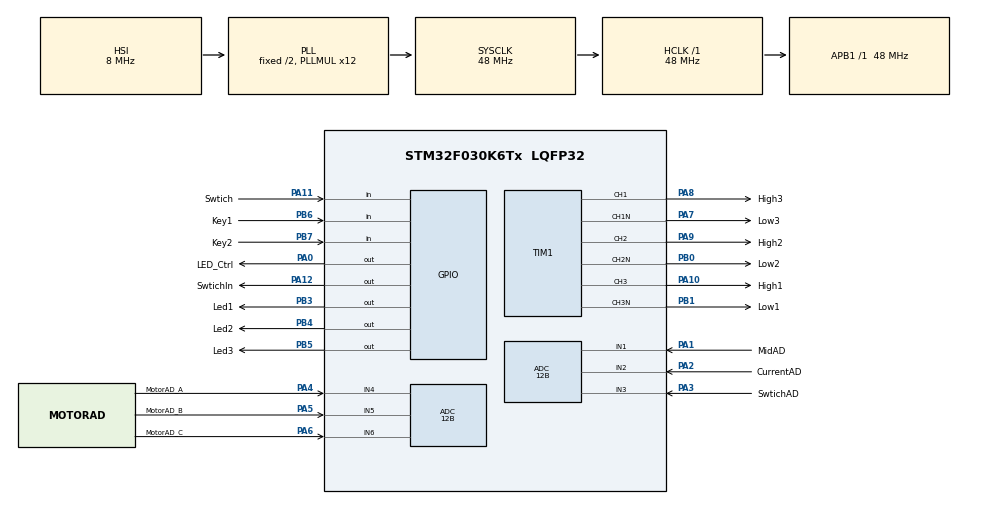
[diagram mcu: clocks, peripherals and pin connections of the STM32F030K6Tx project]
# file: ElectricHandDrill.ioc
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ADC.ClockPrescaler=ADC_CLOCK_SYNC_PCLK_DIV4
ADC.ContinuousConvMode=ENABLE
ADC.DMAContinuousRequests=ENABLE
ADC.DataAlign=ADC_DATAALIGN_RIGHT
ADC.DiscontinuousConvMode=DISABLE
ADC.EOCSelection=ADC_EOC_SEQ_CONV
ADC.EnableAnalogWatchDog=false
ADC.ExternalTrigConv=ADC_SOFTWARE_START
ADC.ExternalTrigConvEdge=ADC_EXTERNALTRIGCONVEDGE_NONE
ADC.LowPowerAutoPowerOff=DISABLE
ADC.LowPowerAutoWait=DISABLE
ADC.Overrun=ADC_OVR_DATA_PRESERVED
ADC.Resolution=ADC_RESOLUTION_12B
ADC.SamplingTime=ADC_SAMPLETIME_7CYCLES_5
ADC.ScanConvMode=ADC_SCAN_DIRECTION_FORWARD
Dma.ADC.0.Direction=DMA_PERIPH_TO_MEMORY
Dma.ADC.0.Instance=DMA1_Channel1
Dma.ADC.0.MemDataAlignment=DMA_MDATAALIGN_HALFWORD
Dma.ADC.0.MemInc=DMA_MINC_ENABLE
Dma.ADC.0.Mode=DMA_CIRCULAR
Dma.ADC.0.PeriphDataAlignment=DMA_PDATAALIGN_HALFWORD
Dma.ADC.0.PeriphInc=DMA_PINC_DISABLE
Dma.ADC.0.Priority=DMA_PRIORITY_LOW
Dma.Request0=ADC
Mcu.Family=STM32F0
Mcu.Name=STM32F030K6Tx
Mcu.Package=LQFP32
Mcu.UserConstants=BLDC_PWM_Freq,25000
NVIC.DMA1_Channel1_IRQn=true\:0\:0\:false\:false\:true\:false
NVIC.TIM1_BRK_UP_TRG_COM_IRQn=true\:0\:0\:false\:false\:true\:true
NVIC.TIM1_CC_IRQn=true\:0\:0\:false\:false\:true\:true
PA0.GPIO_Label=LED_Ctrl
PA0.Signal=GPIO_Output
PA1.GPIO_Label=MidAD
PA1.Mode=IN1
PA1.Signal=ADC_IN1
PA10.GPIO_Label=High1
PA10.Signal=S_TIM1_CH3
PA11.GPIO_Label=Swtich
PA11.Signal=GPIO_Input
PA12.GPIO_Label=SwtichIn
PA12.Signal=GPIO_Output
PA13.Mode=Serial_Wire
PA13.Signal=SYS_SWDIO
PA14.Mode=Serial_Wire
PA14.Signal=SYS_SWCLK
PA2.GPIO_Label=CurrentAD
PA2.Mode=IN2
PA2.Signal=ADC_IN2
PA3.GPIO_Label=SwtichAD
PA3.Mode=IN3
PA3.Signal=ADC_IN3
PA4.GPIO_Label=MotorAD_A
PA4.Mode=IN4
PA4.Signal=ADC_IN4
PA5.GPIO_Label=MotorAD_B
PA5.Mode=IN5
PA5.Signal=ADC_IN5
PA6.GPIO_Label=MotorAD_C
PA6.Mode=IN6
PA6.Signal=ADC_IN6
PA7.GPIO_Label=Low3
PA7.Mode=PWM Generation1 CH1 CH1N
PA7.Signal=TIM1_CH1N
PA8.GPIO_Label=High3
PA8.Signal=S_TIM1_CH1
PA9.GPIO_Label=High2
PA9.Signal=S_TIM1_CH2
PB0.GPIO_Label=Low2
PB0.Mode=PWM Generation2 CH2 CH2N
PB0.Signal=TIM1_CH2N
PB1.GPIO_Label=Low1
PB1.Mode=PWM Generation3 CH3 CH3N
PB1.Signal=TIM1_CH3N
PB3.GPIO_Label=Led1
PB3.Signal=GPIO_Output
PB4.GPIO_Label=Led2
PB4.Signal=GPIO_Output
PB5.GPIO_Label=Led3
PB5.Signal=GPIO_Output
PB6.GPIO_Label=Key1
PB6.Signal=GPIO_Input
PB7.GPIO_Label=Key2
PB7.Signal=GPIO_Input
ProjectManager.HeapSize=0x200
ProjectManager.StackSize=0x400
ProjectManager.TargetToolchain=SW4STM32
RCC.AHBFreq_Value=48000000
RCC.APB1Freq_Value=48000000
RCC.APB1TimFreq_Value=48000000
RCC.HCLKFreq_Value=48000000
RCC.PLLMUL=RCC_PLL_MUL12
RCC.SYSCLKFreq_VALUE=48000000
RCC.SYSCLKSource=RCC_SYSCLKSOURCE_PLLCLK
SH.S_TIM1_CH1.0=TIM1_CH1,PWM Generation1 CH1 CH1N
SH.S_TIM1_CH2.0=TIM1_CH2,PWM Generation2 CH2 CH2N
SH.S_TIM1_CH3.0=TIM1_CH3,PWM Generation3 CH3 CH3N
TIM1.AutoReloadPreload=TIM_AUTORELOAD_PRELOAD_ENABLE
TIM1.AutomaticOutput=TIM_AUTOMATICOUTPUT_ENABLE
TIM1.Channel-PWM\ Generation1\ CH1\ CH1N=TIM_CHANNEL_1
TIM1.Channel-PWM\ Generation2\ CH2\ CH2N=TIM_CHANNEL_2
TIM1.Channel-PWM\ Generation3\ CH3\ CH3N=TIM_CHANNEL_3
TIM1.Channel-PWM\ Generation4\ No\ Output=TIM_CHANNEL_4
TIM1.CounterMode=TIM_COUNTERMODE_DOWN
TIM1.DeadTime=64
TIM1.OffStateIDLEMode=TIM_OSSI_ENABLE
TIM1.OffStateRunMode=TIM_OSSR_ENABLE
TIM1.Period=48000000/BLDC_PWM_Freq - 1
TIM1.Pulse-PWM\ Generation1\ CH1\ CH1N=48000000/BLDC_PWM_Freq/3 - 1
TIM1.Pulse-PWM\ Generation2\ CH2\ CH2N=48000000/BLDC_PWM_Freq/3 - 1
TIM1.Pulse-PWM\ Generation3\ CH3\ CH3N=48000000/BLDC_PWM_Freq/3 - 1
TIM1.Pulse-PWM\ Generation4\ No\ Output=48000000/BLDC_PWM_Freq - 100
VP_TIM1_VS_ClockSourceINT.Mode=Internal
VP_TIM1_VS_no_output4.Mode=PWM Generation4 No Output
board=ElectricHandDrill

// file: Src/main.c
/**
  ******************************************************************************
  * File Name          : main.c
  * Description        : Main program body
  ******************************************************************************
  ** This notice applies to any and all portions of this file
  * that are not between comment pairs USER CODE BEGIN and
  * USER CODE END. Other portions of this file, whether
  * inserted by the user or by software development tools
  * are owned by their respective copyright owners.
  *
  * COPYRIGHT(c) 2018 STMicroelectronics
  *
  * Redistribution and use in source and binary forms, with or without modification,
  * are permitted provided that the following conditions are met:
  *   1. Redistributions of source code must retain the above copyright notice,
  *      this list of conditions and the following disclaimer.
  *   2. Redistributions in binary form must reproduce the above copyright notice,
  *      this list of conditions and the following disclaimer in the documentation
  *      and/or other materials provided with the distribution.
  *   3. Neither the name of STMicroelectronics nor the names of its contributors
  *      may be used to endorse or promote products derived from this software
  *      without specific prior written permission.
  *
  * THIS SOFTWARE IS PROVIDED BY THE COPYRIGHT HOLDERS AND CONTRIBUTORS "AS IS"
  * AND ANY EXPRESS OR IMPLIED WARRANTIES, INCLUDING, BUT NOT LIMITED TO, THE
  * IMPLIED WARRANTIES OF MERCHANTABILITY AND FITNESS FOR A PARTICULAR PURPOSE ARE
  * DISCLAIMED. IN NO EVENT SHALL THE COPYRIGHT HOLDER OR CONTRIBUTORS BE LIABLE
  * FOR ANY DIRECT, INDIRECT, INCIDENTAL, SPECIAL, EXEMPLARY, OR CONSEQUENTIAL
  * DAMAGES (INCLUDING, BUT NOT LIMITED TO, PROCUREMENT OF SUBSTITUTE GOODS OR
  * SERVICES; LOSS OF USE, DATA, OR PROFITS; OR BUSINESS INTERRUPTION) HOWEVER
  * CAUSED AND ON ANY THEORY OF LIABILITY, WHETHER IN CONTRACT, STRICT LIABILITY,
  * OR TORT (INCLUDING NEGLIGENCE OR OTHERWISE) ARISING IN ANY WAY OUT OF THE USE
  * OF THIS SOFTWARE, EVEN IF ADVISED OF THE POSSIBILITY OF SUCH DAMAGE.
  *
  ******************************************************************************
  */

#include "main.h"
#include "stm32f0xx_hal.h"

/* USER CODE BEGIN Includes */
//#include "stdio.h"
//#include  <math.h>

#include "user_conf.h"
//#include "Low_level.h"
#include "BLDC_TIM.h"
#include "BLDC_Motor.h"

/* USER CODE END Includes */

ADC_HandleTypeDef hadc;
DMA_HandleTypeDef hdma_adc;

TIM_HandleTypeDef htim1;

/* USER CODE BEGIN PV */
/* Private variables ---------------------------------------------------------*/

#define N     6
uint16_t ADCConvertedValue_2[N];
uint32_t ADC_Value1[30];

//uint8_t i;
//		AD1		AD2			AD3		AD4		AD5			AD6
uint32_t MidAD,CurrentAD,SwtichAD,MotorAD_A,MotorAD_B,MotorAD_C;

unsigned long BEMF_Cnt;
unsigned long BEMF_ADC_Cnt;

//unsigned short ADC_Value[6000][3];

/* USER CODE END PV */

void SystemClock_Config(void);
static void MX_GPIO_Init(void);
static void MX_DMA_Init(void);
static void MX_ADC_Init(void);
static void MX_TIM1_Init(void);

void HAL_TIM_MspPostInit(TIM_HandleTypeDef *htim);

/* USER CODE BEGIN PFP */
/* Private function prototypes -----------------------------------------------*/
unsigned long BEMF(void);//Back Electromotive Force 反电动
void MyInitTIM1PWM(void);

//void BLDC_Init(void)
//{
//    MotorA.PWMTicks = 0;
//
//    MotorA.Step = 0;
//    MotorA.State = 0;
//
//    MotorA.FlagSwitchStep = 0;
//    MotorA.FlagBEMF = 0;
//}
/* USER CODE END PFP */

int main(void)
{

  /* USER CODE BEGIN 1 */
	uint8_t i;
	uint32_t tmpUint32[6];
  /* USER CODE END 1 */

  /* MCU Configuration----------------------------------------------------------*/

  /* Reset of all peripherals, Initializes the Flash interface and the Systick. */
  HAL_Init();

  /* Configure the system clock */
  SystemClock_Config();

  /* Initialize all configured peripherals */
  MX_GPIO_Init();
  MX_DMA_Init();
  MX_ADC_Init();
  MX_TIM1_Init();

  /* USER CODE BEGIN 2 */
  BLDC_Pulse = __HAL_TIM_GET_COMPARE(&htim1,TIM_CHANNEL_1);
  MyInitTIM1PWM();
  BLDC_Init();

  BEMF_Cnt = 0;
  BEMF_ADC_Cnt = 0;

  MotorA.Step = 0;

//  BLDC_SwitchStep();//Del for test

  /*1 Start the conversion process and enable interrupt */
  HAL_ADC_Start_DMA(&hadc, (uint32_t*)&ADC_Value1, 30);

  /* USER CODE END 2 */

  /* Infinite loop */
  /* USER CODE BEGIN WHILE */
  //Only For test

//  HAL_TIM_OC_Stop(&BLDC_TIMER_NUM,TIM_CHANNEL_1);//0 上桥关
//  __HAL_TIM_SET_OC_POLARITY(&BLDC_TIMER_NUM,TIM_CHANNEL_1,TIM_OCNPOLARITY_HIGH);//有效打开
//  HAL_TIMEx_OCN_Stop(&BLDC_TIMER_NUM,TIM_CHANNEL_1);//0 下桥关
//
//
//  /*  PhaseB configuration */
//  HAL_TIM_OC_Start(&BLDC_TIMER_NUM,TIM_CHANNEL_2);// 1 上桥开
//  HAL_TIMEx_OCN_Start(&BLDC_TIMER_NUM,TIM_CHANNEL_2);//下桥开,同步整流
//
  /*  PhaseC configuration */
  //CC3NP/CC3P没作用
//  HAL_TIM_OC_Stop(&BLDC_TIMER_NUM,TIM_CHANNEL_3);// 0 上桥关
//  __HAL_TIM_SET_OC_POLARITY(&BLDC_TIMER_NUM,TIM_CHANNEL_3,TIM_OCNPOLARITY_LOW);// 1  常开,一直打开
//  HAL_TIMEx_OCN_Stop(&BLDC_TIMER_NUM,TIM_CHANNEL_3);// 1 下桥常开,一直打开
//  HAL_TIM_OC_Start(&BLDC_TIMER_NUM,TIM_CHANNEL_3);// 0 上桥关
//  __HAL_TIM_SET_COMPARE(&BLDC_TIMER_NUM,TIM_CHANNEL_3,48000000/BLDC_PWM_Freq - 1);TIM_CCMR1_OC1M_0
//  BLDC_TIMER_NUM.Instance->CCMR1 |= TIM_CCMR1_OC1M_0;

  //CHANNEL_1
  //置位101:强制为有效电平.OC_Start OCN_Start -> OC高 OCN低
  //置位101:强制为有效电平.OC_Stop OCN_Start -> OC低 OCN高
  //置位101:强制为有效电平.OC_Start OCN_Stop -> OC高 OCN低
  //置位101:强制为有效电平.OC_Stop OCN_Stop -> OC低 OCN低

  //置位100:强制为无效电平.OC_Start OCN_Start -> OC低 OCN高
  //置位100:强制为无效电平.OC_Stop OCN_Start -> OC低 OCN低
  //置位100:强制为无效电平.OC_Start OCN_Stop -> OC低 OCN低
  //置位100:强制为无效电平.OC_Stop OCN_Stop -> OC低 OCN低
  BLDC_TIMER_NUM.Instance->CCMR1 &= ~(TIM_CCMR1_OC1M_0|TIM_CCMR1_OC1M_1|TIM_CCMR1_OC1M_2);//清零
  BLDC_TIMER_NUM.Instance->CCMR1 |= (TIM_CCMR1_OC1M_0 | TIM_CCMR1_OC1M_2);//置位101:强制为有效电平.强制OC1REF 为高。
//  BLDC_TIMER_NUM.Instance->CCMR1 |= (TIM_CCMR1_OC1M_2);//置位100:强制为无效电平.强制OC1REF 为低。
//  HAL_TIM_OC_Start(&BLDC_TIMER_NUM,TIM_CHANNEL_1);
  HAL_TIMEx_OCN_Start(&BLDC_TIMER_NUM,TIM_CHANNEL_1);// 1 下桥常开,一直打开
  HAL_TIM_OC_Stop(&BLDC_TIMER_NUM,TIM_CHANNEL_1);
//  HAL_TIMEx_OCN_Stop(&BLDC_TIMER_NUM,TIM_CHANNEL_1);// 1 下桥常开,一直打开
  HAL_TIM_OC_Start(&BLDC_TIMER_NUM,TIM_CHANNEL_2);
  HAL_TIMEx_OCN_Start(&BLDC_TIMER_NUM,TIM_CHANNEL_2);
//  HAL_TIM_OC_Stop(&BLDC_TIMER_NUM,TIM_CHANNEL_3);
//  HAL_TIMEx_OCN_Stop(&BLDC_TIMER_NUM,TIM_CHANNEL_3);
  HAL_TIM_PWM_Start(&BLDC_TIMER_NUM,TIM_CHANNEL_3);
  HAL_TIMEx_PWMN_Start(&BLDC_TIMER_NUM,TIM_CHANNEL_3);

  MotorA.State = 0;
//  HAL_TIM_PWM_Start(&BLDC_TIMER_NUM,TIM_CHANNEL_2);
//  HAL_TIMEx_PWMN_Start(&BLDC_TIMER_NUM,TIM_CHANNEL_2);
//  BLDC_SwitchStep();
  while (1)
  {
      //等待ADC转换，DMA传输完成
      //清除DMA传输完成标志位

	  //计算AD平均值
	  tmpUint32[0] = 0;
	  tmpUint32[1] = 0;
	  tmpUint32[2] = 0;
	  tmpUint32[3] = 0;
	  tmpUint32[4] = 0;
	  tmpUint32[5] = 0;
	  MidAD = 0;
	  CurrentAD = 0;
	  SwtichAD = 0;
	  MotorAD_A = 0;
	  MotorAD_B = 0;
	  MotorAD_C = 0;
	  for(i = 0; i < 5; i ++)
	  {
		  tmpUint32[0] += ADC_Value1[i*6+0];
		  tmpUint32[1] += ADC_Value1[i*6+1];
		  tmpUint32[2] += ADC_Value1[i*6+2];
		  tmpUint32[3] += ADC_Value1[i*6+3];
		  tmpUint32[4] += ADC_Value1[i*6+4];
		  tmpUint32[5] += ADC_Value1[i*6+5];
	  }
	  MidAD = tmpUint32[0]/5;
	  CurrentAD = tmpUint32[1]/5;
	  SwtichAD = tmpUint32[2]/5;
	  MotorAD_A = tmpUint32[3]/5;
	  MotorAD_B = tmpUint32[4]/5;
	  MotorAD_C = tmpUint32[5]/5;
	  ADCConvertedValue_2[0] = MotorAD_A;
	  ADCConvertedValue_2[1] = MotorAD_A;
	  ADCConvertedValue_2[2] = MotorAD_A;

	  //TODO
//	  MotorA.Step = 1;
//	  BLDC_SwitchStep();
//       switch(MotorA.State)
//       {
//		   case 0:                             //定位
//			   if(MotorA.PWMTicks >= 1000)
//			   {
//	//               BLDC_Ctrl_Board_LEDOn(LED4);
//
//				   //   MotorA.FlagSwitchStep = 1;   //换向
//				   BLDC_SwitchStep();
//				   MotorA.State++;
//
//	//               BLDC_Ctrl_Board_LEDOff(LED4);
//				   BEMF_Cnt = 0;
//			   }
//
//			   break;
//		   case 1:                             //启动
//
//			   if (MotorA.PWMTicks >= 8)
//			   {
//				   if ( BEMF())
//				   {
//	//                   BLDC_Ctrl_Board_LEDOn(LED1);
//					   //  MotorA.FlagSwitchStep = 1;   //换向
//					   BLDC_SwitchStep();
//					   BEMF_Cnt++;
//	//                   BLDC_Ctrl_Board_LEDOff(LED1);
//				   }
//			   }
//
//			   if (BEMF_ADC_Cnt < 6000)                   //记录启动过程bemf数据
//			   {
//	//               ADC_Value[BEMF_ADC_Cnt][0] = ADCConvertedValue_2[0];
//	//               ADC_Value[BEMF_ADC_Cnt][1] = ADCConvertedValue_2[1];
//	//               ADC_Value[BEMF_ADC_Cnt][2] = ADCConvertedValue_2[2];
//
//				   BEMF_ADC_Cnt++;
//			   }
//
//			   if (BEMF_Cnt >= 50)       //50次换向之后，认为达到平稳状态
//			   {
//				   MotorA.State++;
//				   BEMF_Cnt = 0;
//			   }
//			   break;
//
//		   case 2:
//			   if (MotorA.FlagBEMF == 0)      //未检测到过零事件
//			   {
//				   if (MotorA.PWMTicks >= 8)
//				   {
//					   if ( BEMF())
//					   {
//	//                       BLDC_Ctrl_Board_LEDOn(LED3);
//						   MotorA.FlagSwitchStep = MotorA.PWMTicksPre >> 1;   //延迟30电角度
//						   MotorA.FlagBEMF = 1;             //检测到过零事件，不再检测
//	//                       BLDC_Ctrl_Board_LEDOff(LED3);
//					   }
//				   }
//			   }
//			   else
//			   {
//				   if (MotorA.FlagSwitchStep == 0)          //延迟时刻到
//				   {
//	//                   BLDC_Ctrl_Board_LEDOn(LED1);
//					   BLDC_SwitchStep();               //换向
//					   BEMF_Cnt++;
//	//                   BLDC_Ctrl_Board_LEDOff(LED1);
//				   }
//				   else
//				   {
//					   MotorA.FlagSwitchStep--;
//				   }
//
//			   }
//
//			   if (BEMF_Cnt >= 80000)       //50000次换向之后，停止
//			   {
//				   MotorA.State++;
//				   BEMF_Cnt = 0;
//			   }
//
//			   break;
//
//		   case 3:
//			   BLDC_Stop();
//			   break;
//		   case 4:
//
//			   break;
//		   default:
//			   break;
//       }
  /* USER CODE END WHILE */

  }

}

/** System Clock Configuration
*/
void SystemClock_Config(void)
{

  RCC_OscInitTypeDef RCC_OscInitStruct;
  RCC_ClkInitTypeDef RCC_ClkInitStruct;

    /**Initializes the CPU, AHB and APB busses clocks
    */
  RCC_OscInitStruct.OscillatorType = RCC_OSCILLATORTYPE_HSI;
  RCC_OscInitStruct.HSIState = RCC_HSI_ON;
  RCC_OscInitStruct.HSICalibrationValue = 16;
  RCC_OscInitStruct.PLL.PLLState = RCC_PLL_ON;
  RCC_OscInitStruct.PLL.PLLSource = RCC_PLLSOURCE_HSI;
  RCC_OscInitStruct.PLL.PLLMUL = RCC_PLL_MUL12;
  RCC_OscInitStruct.PLL.PREDIV = RCC_PREDIV_DIV1;
  if (HAL_RCC_OscConfig(&RCC_OscInitStruct) != HAL_OK)
  {
    _Error_Handler(__FILE__, __LINE__);
  }

    /**Initializes the CPU, AHB and APB busses clocks
    */
  RCC_ClkInitStruct.ClockType = RCC_CLOCKTYPE_HCLK|RCC_CLOCKTYPE_SYSCLK
                              |RCC_CLOCKTYPE_PCLK1;
  RCC_ClkInitStruct.SYSCLKSource = RCC_SYSCLKSOURCE_PLLCLK;
  RCC_ClkInitStruct.AHBCLKDivider = RCC_SYSCLK_DIV1;
  RCC_ClkInitStruct.APB1CLKDivider = RCC_HCLK_DIV1;

  if (HAL_RCC_ClockConfig(&RCC_ClkInitStruct, FLASH_LATENCY_1) != HAL_OK)
  {
    _Error_Handler(__FILE__, __LINE__);
  }

    /**Configure the Systick interrupt time
    */
  HAL_SYSTICK_Config(HAL_RCC_GetHCLKFreq()/1000);

    /**Configure the Systick
    */
  HAL_SYSTICK_CLKSourceConfig(SYSTICK_CLKSOURCE_HCLK);

  /* SysTick_IRQn interrupt configuration */
  HAL_NVIC_SetPriority(SysTick_IRQn, 0, 0);
}

/* ADC init function */
static void MX_ADC_Init(void)
{

  ADC_ChannelConfTypeDef sConfig;

    /**Configure the global features of the ADC (Clock, Resolution, Data Alignment and number of conversion)
    */
  hadc.Instance = ADC1;
  hadc.Init.ClockPrescaler = ADC_CLOCK_SYNC_PCLK_DIV4;
  hadc.Init.Resolution = ADC_RESOLUTION_12B;
  hadc.Init.DataAlign = ADC_DATAALIGN_RIGHT;
  hadc.Init.ScanConvMode = ADC_SCAN_DIRECTION_FORWARD;
  hadc.Init.EOCSelection = ADC_EOC_SEQ_CONV;
  hadc.Init.LowPowerAutoWait = DISABLE;
  hadc.Init.LowPowerAutoPowerOff = DISABLE;
  hadc.Init.ContinuousConvMode = ENABLE;
  hadc.Init.DiscontinuousConvMode = DISABLE;
  hadc.Init.ExternalTrigConv = ADC_SOFTWARE_START;
  hadc.Init.ExternalTrigConvEdge = ADC_EXTERNALTRIGCONVEDGE_NONE;
  hadc.Init.DMAContinuousRequests = ENABLE;
  hadc.Init.Overrun = ADC_OVR_DATA_PRESERVED;
  if (HAL_ADC_Init(&hadc) != HAL_OK)
  {
    _Error_Handler(__FILE__, __LINE__);
  }

    /**Configure for the selected ADC regular channel to be converted.
    */
  sConfig.Channel = ADC_CHANNEL_1;
  sConfig.Rank = ADC_RANK_CHANNEL_NUMBER;
  sConfig.SamplingTime = ADC_SAMPLETIME_7CYCLES_5;
  if (HAL_ADC_ConfigChannel(&hadc, &sConfig) != HAL_OK)
  {
    _Error_Handler(__FILE__, __LINE__);
  }

    /**Configure for the selected ADC regular channel to be converted.
    */
  sConfig.Channel = ADC_CHANNEL_2;
  if (HAL_ADC_ConfigChannel(&hadc, &sConfig) != HAL_OK)
  {
    _Error_Handler(__FILE__, __LINE__);
  }

    /**Configure for the selected ADC regular channel to be converted.
    */
  sConfig.Channel = ADC_CHANNEL_3;
  if (HAL_ADC_ConfigChannel(&hadc, &sConfig) != HAL_OK)
  {
    _Error_Handler(__FILE__, __LINE__);
  }

    /**Configure for the selected ADC regular channel to be converted.
    */
  sConfig.Channel = ADC_CHANNEL_4;
  if (HAL_ADC_ConfigChannel(&hadc, &sConfig) != HAL_OK)
  {
    _Error_Handler(__FILE__, __LINE__);
  }

    /**Configure for the selected ADC regular channel to be converted.
    */
  sConfig.Channel = ADC_CHANNEL_5;
  if (HAL_ADC_ConfigChannel(&hadc, &sConfig) != HAL_OK)
  {
    _Error_Handler(__FILE__, __LINE__);
  }

    /**Configure for the selected ADC regular channel to be converted.
    */
  sConfig.Channel = ADC_CHANNEL_6;
  if (HAL_ADC_ConfigChannel(&hadc, &sConfig) != HAL_OK)
  {
    _Error_Handler(__FILE__, __LINE__);
  }

}

/* TIM1 init function */
static void MX_TIM1_Init(void)
{

  TIM_ClockConfigTypeDef sClockSourceConfig;
  TIM_MasterConfigTypeDef sMasterConfig;
  TIM_OC_InitTypeDef sConfigOC;
  TIM_BreakDeadTimeConfigTypeDef sBreakDeadTimeConfig;

  htim1.Instance = TIM1;
  htim1.Init.Prescaler = 0;
  htim1.Init.CounterMode = TIM_COUNTERMODE_DOWN;
  htim1.Init.Period = 48000000/BLDC_PWM_Freq - 1;
  htim1.Init.ClockDivision = TIM_CLOCKDIVISION_DIV1;
  htim1.Init.RepetitionCounter = 0;
  htim1.Init.AutoReloadPreload = TIM_AUTORELOAD_PRELOAD_ENABLE;
  if (HAL_TIM_Base_Init(&htim1) != HAL_OK)
  {
    _Error_Handler(__FILE__, __LINE__);
  }

  sClockSourceConfig.ClockSource = TIM_CLOCKSOURCE_INTERNAL;
  if (HAL_TIM_ConfigClockSource(&htim1, &sClockSourceConfig) != HAL_OK)
  {
    _Error_Handler(__FILE__, __LINE__);
  }

  if (HAL_TIM_PWM_Init(&htim1) != HAL_OK)
  {
    _Error_Handler(__FILE__, __LINE__);
  }

  sMasterConfig.MasterOutputTrigger = TIM_TRGO_RESET;
  sMasterConfig.MasterSlaveMode = TIM_MASTERSLAVEMODE_DISABLE;
  if (HAL_TIMEx_MasterConfigSynchronization(&htim1, &sMasterConfig) != HAL_OK)
  {
    _Error_Handler(__FILE__, __LINE__);
  }

  sConfigOC.OCMode = TIM_OCMODE_PWM1;
  sConfigOC.Pulse = 48000000/BLDC_PWM_Freq/3 - 1;
  sConfigOC.OCPolarity = TIM_OCPOLARITY_HIGH;
  sConfigOC.OCNPolarity = TIM_OCNPOLARITY_HIGH;
  sConfigOC.OCFastMode = TIM_OCFAST_DISABLE;
  sConfigOC.OCIdleState = TIM_OCIDLESTATE_RESET;
  sConfigOC.OCNIdleState = TIM_OCNIDLESTATE_RESET;
  if (HAL_TIM_PWM_ConfigChannel(&htim1, &sConfigOC, TIM_CHANNEL_1) != HAL_OK)
  {
    _Error_Handler(__FILE__, __LINE__);
  }

  if (HAL_TIM_PWM_ConfigChannel(&htim1, &sConfigOC, TIM_CHANNEL_2) != HAL_OK)
  {
    _Error_Handler(__FILE__, __LINE__);
  }

  if (HAL_TIM_PWM_ConfigChannel(&htim1, &sConfigOC, TIM_CHANNEL_3) != HAL_OK)
  {
    _Error_Handler(__FILE__, __LINE__);
  }

  sConfigOC.Pulse = 48000000/BLDC_PWM_Freq - 5;//htim1.Init.Period
  if (HAL_TIM_PWM_ConfigChannel(&htim1, &sConfigOC, TIM_CHANNEL_4) != HAL_OK)
  {
    _Error_Handler(__FILE__, __LINE__);
  }

  sBreakDeadTimeConfig.OffStateRunMode = TIM_OSSR_ENABLE;
  sBreakDeadTimeConfig.OffStateIDLEMode = TIM_OSSI_ENABLE;
  sBreakDeadTimeConfig.LockLevel = TIM_LOCKLEVEL_OFF;
  sBreakDeadTimeConfig.DeadTime = 64;
  sBreakDeadTimeConfig.BreakState = TIM_BREAK_DISABLE;
  sBreakDeadTimeConfig.BreakPolarity = TIM_BREAKPOLARITY_HIGH;
  sBreakDeadTimeConfig.AutomaticOutput = TIM_AUTOMATICOUTPUT_ENABLE;
  if (HAL_TIMEx_ConfigBreakDeadTime(&htim1, &sBreakDeadTimeConfig) != HAL_OK)
  {
    _Error_Handler(__FILE__, __LINE__);
  }

  HAL_TIM_MspPostInit(&htim1);

}

static void MX_DMA_Init(void)
{
  /* DMA controller clock enable */
  __HAL_RCC_DMA1_CLK_ENABLE();

  /* DMA interrupt init */
  /* DMA1_Channel1_IRQn interrupt configuration */
  HAL_NVIC_SetPriority(DMA1_Channel1_IRQn, 0, 0);
  HAL_NVIC_EnableIRQ(DMA1_Channel1_IRQn);

}

/** Configure pins as
        * Analog
        * Input
        * Output
        * EVENT_OUT
        * EXTI
*/
static void MX_GPIO_Init(void)
{

  GPIO_InitTypeDef GPIO_InitStruct;

  /* GPIO Ports Clock Enable */
  __HAL_RCC_GPIOA_CLK_ENABLE();
  __HAL_RCC_GPIOB_CLK_ENABLE();

  /*Configure GPIO pin Output Level */
  HAL_GPIO_WritePin(GPIOA, LED_Ctrl_Pin|SwtichIn_Pin, GPIO_PIN_RESET);

  /*Configure GPIO pin Output Level */
  HAL_GPIO_WritePin(GPIOB, Led1_Pin|Led2_Pin|Led3_Pin, GPIO_PIN_RESET);

  /*Configure GPIO pins : LED_Ctrl_Pin SwtichIn_Pin */
  GPIO_InitStruct.Pin = LED_Ctrl_Pin|SwtichIn_Pin;
  GPIO_InitStruct.Mode = GPIO_MODE_OUTPUT_PP;
  GPIO_InitStruct.Pull = GPIO_NOPULL;
  GPIO_InitStruct.Speed = GPIO_SPEED_FREQ_LOW;
  HAL_GPIO_Init(GPIOA, &GPIO_InitStruct);

  /*Configure GPIO pin : Swtich_Pin */
  GPIO_InitStruct.Pin = Swtich_Pin;
  GPIO_InitStruct.Mode = GPIO_MODE_INPUT;
  GPIO_InitStruct.Pull = GPIO_NOPULL;
  HAL_GPIO_Init(Swtich_GPIO_Port, &GPIO_InitStruct);

  /*Configure GPIO pins : Led1_Pin Led2_Pin Led3_Pin */
  GPIO_InitStruct.Pin = Led1_Pin|Led2_Pin|Led3_Pin;
  GPIO_InitStruct.Mode = GPIO_MODE_OUTPUT_PP;
  GPIO_InitStruct.Pull = GPIO_NOPULL;
  GPIO_InitStruct.Speed = GPIO_SPEED_FREQ_LOW;
  HAL_GPIO_Init(GPIOB, &GPIO_InitStruct);

  /*Configure GPIO pins : Key1_Pin Key2_Pin */
  GPIO_InitStruct.Pin = Key1_Pin|Key2_Pin;
  GPIO_InitStruct.Mode = GPIO_MODE_INPUT;
  GPIO_InitStruct.Pull = GPIO_NOPULL;
  HAL_GPIO_Init(GPIOB, &GPIO_InitStruct);

}

/* USER CODE BEGIN 4 */
unsigned long BEMF(void)
{

    unsigned short VoltBEMF = 0;
    unsigned long dir = 0;

    switch (MotorA.Step)
    {
    case 0:
        VoltBEMF = ADCConvertedValue_2[0];
        dir = 1;
        break;
    case 1:
        VoltBEMF = ADCConvertedValue_2[1];
        break;
    case 2:
        VoltBEMF = ADCConvertedValue_2[2];
        dir = 1;
        break;
    case 3:
        VoltBEMF = ADCConvertedValue_2[0];
        break;
    case 4:
        VoltBEMF = ADCConvertedValue_2[1];
        dir = 1;
        break;
    case 5:
        VoltBEMF = ADCConvertedValue_2[2];
        break;
    default:
        break;
    }

    if (dir == 1)             //PWM-OFF检测BEMF，过零点标志是BEMF电压为0
    {
        if (VoltBEMF > 0)
            return 1;
    }
    else
    {
        if (VoltBEMF <= 26)
            return 1;
    }

    return 0;
}

/**
  * @brief  初始化TIM1的六路输出的初始化状态
  * @param  None
  * @retval None
  */
void MyInitTIM1PWM(void)
{

	//开启预装载寄存器
	__HAL_TIM_ENABLE_OCxPRELOAD(&BLDC_TIMER_NUM,TIM_CHANNEL_1);
	__HAL_TIM_ENABLE_OCxPRELOAD(&BLDC_TIMER_NUM,TIM_CHANNEL_2);
	__HAL_TIM_ENABLE_OCxPRELOAD(&BLDC_TIMER_NUM,TIM_CHANNEL_3);
	__HAL_TIM_ENABLE_OCxPRELOAD(&BLDC_TIMER_NUM,TIM_CHANNEL_4);

//    TIM_CCxCmd(BLDC_TIMER_NUM, TIM_Channel_1, TIM_CCx_Disable);
//    TIM_CCxNCmd(BLDC_TIMER_NUM, TIM_Channel_1, TIM_CCxN_Disable);
    HAL_TIM_OC_Stop(&BLDC_TIMER_NUM,TIM_CHANNEL_1);
    HAL_TIMEx_OCN_Stop(&BLDC_TIMER_NUM,TIM_CHANNEL_1);

//    TIM_CCxCmd(BLDC_TIMER_NUM, TIM_Channel_2, TIM_CCx_Disable);
//    TIM_CCxNCmd(BLDC_TIMER_NUM, TIM_Channel_2, TIM_CCxN_Disable);
    HAL_TIM_OC_Stop(&BLDC_TIMER_NUM,TIM_CHANNEL_2);
    HAL_TIMEx_OCN_Stop(&BLDC_TIMER_NUM,TIM_CHANNEL_2);

//    TIM_CCxCmd(BLDC_TIMER_NUM, TIM_Channel_3, TIM_CCx_Disable);
//    TIM_CCxNCmd(BLDC_TIMER_NUM, TIM_Channel_3, TIM_CCxN_Disable);
    HAL_TIM_OC_Stop(&BLDC_TIMER_NUM,TIM_CHANNEL_3);
    HAL_TIMEx_OCN_Stop(&BLDC_TIMER_NUM,TIM_CHANNEL_3);

//    TIM_CCxCmd(BLDC_TIMER_NUM, TIM_Channel_4, TIM_CCx_Enable);
    HAL_TIM_OC_Stop(&BLDC_TIMER_NUM,TIM_CHANNEL_4);

//#if (ADVANCE_TIMER > 0)&(USE_COM_EVENT > 0)
//    TIM_CCPreloadControl(BLDC_TIMER_NUM, ENABLE);     //高级定时器，使用COM事件同步更新寄存器，需要CCxE,CCxNE,OCxM预装载
//#endif

//    TIM_ITConfig(BLDC_TIMER_NUM, TIM_IT_CC4, ENABLE);
//    TIM_ITConfig(BLDC_TIMER_NUM, TIM_IT_Update, ENABLE);
    __HAL_TIM_ENABLE_IT(&BLDC_TIMER_NUM,TIM_IT_CC4);
    __HAL_TIM_ENABLE_IT(&BLDC_TIMER_NUM,TIM_IT_UPDATE);

    /* BLDC_TIMER_NUM counter enable */
//    TIM_Cmd(BLDC_TIMER_NUM, ENABLE);
    __HAL_TIM_ENABLE(&BLDC_TIMER_NUM);

    /* Main Output Enable */
//    TIM_CtrlPWMOutputs(BLDC_TIMER_NUM, ENABLE);
    __HAL_TIM_MOE_ENABLE(&BLDC_TIMER_NUM);
}
/* USER CODE END 4 */

void _Error_Handler(char * file, int line)
{
  while(1)
  {
  }
}

/************************ (C) COPYRIGHT STMicroelectronics *****END OF FILE****/
